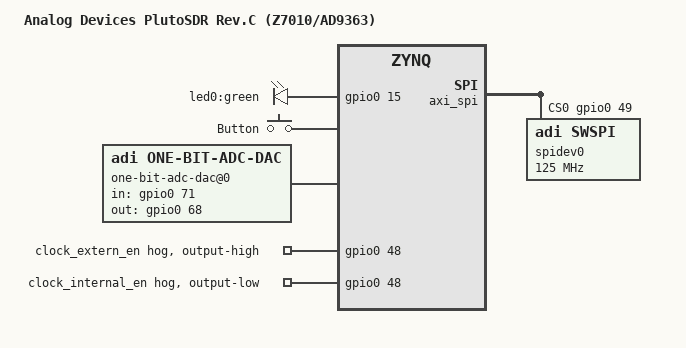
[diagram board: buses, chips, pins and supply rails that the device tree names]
// SPDX-License-Identifier: GPL-2.0
/*
 * Analog Devices ADALM Pluto
 * https://wiki.analog.com/university/tools/pluto
 * https://wiki.analog.com/university/tools/pluto/users
 * https://wiki.analog.com/university/tools/pluto/users/firmware
 * https://wiki.analog.com/university/tools/pluto/other
 *
 * hdl_project: <pluto>
 * board_revision: <C>
 *
 * Copyright (C) 2016-2019 Analog Devices Inc.
 */
/dts-v1/;
#include "zynq-pluto-sdr.dtsi"
#include <dt-bindings/input/input.h>
#include <dt-bindings/gpio/gpio.h>
#include <dt-bindings/interrupt-controller/irq.h>

/* These GPIO hogs are configured by u-boot environment */
&gpio0 {
	clock_extern_en {
		gpio-hog;
		gpios = <48 0>;
		output-high;
	};

	clock_internal_en {
		gpio-hog;
		gpios = <48 0>;
		output-low;
	};
};

&amba {
	axi_tdd_0: axi-tdd-0@7C440000 {
		compatible = "adi,axi-tdd";
		reg = <0x7C440000 0x10000>;
		clocks = <&clkc 15>, <&adc0_ad9364 20>;
		clock-names = "s_axi_aclk", "intf_clk";
	};

	iio_axi_tdd_0@0 {
		compatible = "adi,iio-fake-platform-device";
		adi,faked-dev = <&axi_tdd_0>;
		adi,attribute-names =
		"version", "core_id", "scratch", "magic",
		"sync_soft", "sync_external", "sync_internal", "sync_reset",
		"enable", "startup_delay_raw", "startup_delay_ms",
		"burst_count", "frame_length_raw", "frame_length_ms",
		"state", "internal_sync_period_raw", "internal_sync_period_ms",
		"out_channel0_enable", "out_channel0_polarity",
		"out_channel0_on_raw", "out_channel0_on_ms",
		"out_channel0_off_raw", "out_channel0_off_ms",
		"out_channel1_enable", "out_channel1_polarity",
		"out_channel1_on_raw", "out_channel1_on_ms",
		"out_channel1_off_raw", "out_channel1_off_ms",
		"out_channel2_enable", "out_channel2_polarity",
		"out_channel2_on_raw", "out_channel2_on_ms",
		"out_channel2_off_raw", "out_channel2_off_ms";
		label = "iio-axi-tdd-0";
	};

	axi_spi: spi@7C430000 {
		#address-cells = <1>;
		#size-cells = <0>;
		bits-per-word = <8>;
		compatible = "xlnx,xps-spi-2.00.a";
		fifo-size = <16>;
		interrupt-parent = <&intc>;
		interrupts = <0 55 IRQ_TYPE_LEVEL_HIGH>;
		cs-gpios = <&gpio0 49 0>;
		num-cs = <0x1>;
		reg = <0x7C430000 0x10000>;
		xlnx,num-ss-bits = <0x1>;
		xlnx,spi-mode = <0>;

		spidev0: spidev@0 {
			compatible = "adi,swspi";
			reg = <0>;	/* CE0 */
			#address-cells = <1>;
			#size-cells = <0>;
			spi-max-frequency = <125000000>;
		};
	};
};

&adc0_ad9364 {
	/* This property is controlled by u-boot environment. */
	adi,2rx-2tx-mode-enable;
};

&cf_ad9364_dac_core_0 {
	/* This property is controlled by u-boot environment. */
	compatible = "adi,axi-ad9361-dds-6.00.a";
};

/ {
	model = "Analog Devices PlutoSDR Rev.C (Z7010/AD9363)";

	leds {
		compatible = "gpio-leds";
		led0 {
			label = "led0:green";
			gpios = <&gpio0 15 0>;
			linux,default-trigger = "heartbeat";
		};
	};

	gpio_keys {
		compatible = "gpio-keys";
		#address-cells = <1>;
		#size-cells = <0>;

		button {
			interrupt-parent = <&gpio0>;
			interrupts = <14 IRQ_TYPE_EDGE_FALLING>;
			label = "Button";
			linux,code = <BTN_MISC>;
		};
	};

	one-bit-adc-dac@0 {
		compatible = "adi,one-bit-adc-dac";

		#address-cells = <1>;
		#size-cells = <0>;

		in-gpios = <&gpio0 71 GPIO_ACTIVE_HIGH>;
		out-gpios = <&gpio0 68 GPIO_ACTIVE_HIGH>;

		channel@0 {
			reg = <0>;
			label = "muxout";
		};

		channel@1 {
			reg = <1>;
			label = "phaser_enable";
		};
	};
};
